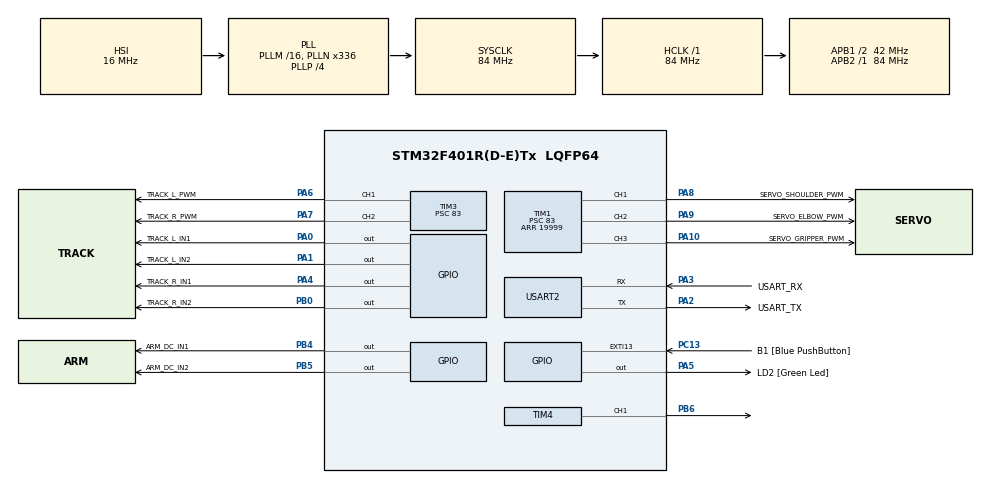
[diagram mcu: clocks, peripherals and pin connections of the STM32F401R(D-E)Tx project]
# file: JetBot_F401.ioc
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Mcu.Family=STM32F4
Mcu.Name=STM32F401R(D-E)Tx
Mcu.Package=LQFP64
NVIC.PriorityGroup=NVIC_PRIORITYGROUP_4
NVIC.USART2_IRQn=true\:0\:0\:false\:false\:true\:true\:true\:true
PA0-WKUP.GPIO_Label=TRACK_L_IN1
PA0-WKUP.Signal=GPIO_Output
PA1.GPIO_Label=TRACK_L_IN2
PA1.Signal=GPIO_Output
PA10.GPIO_Label=SERVO_GRIPPER_PWM
PA10.Signal=S_TIM1_CH3
PA13.GPIO_Label=TMS
PA13.Mode=Serial_Wire
PA13.Signal=SYS_JTMS-SWDIO
PA14.GPIO_Label=TCK
PA14.Mode=Serial_Wire
PA14.Signal=SYS_JTCK-SWCLK
PA2.GPIO_Label=USART_TX
PA2.GPIO_Mode=GPIO_MODE_AF_PP
PA2.GPIO_PuPd=GPIO_NOPULL
PA2.GPIO_Speed=GPIO_SPEED_FREQ_LOW
PA2.Mode=Asynchronous
PA2.Signal=USART2_TX
PA3.GPIO_Label=USART_RX
PA3.GPIO_Mode=GPIO_MODE_AF_PP
PA3.GPIO_PuPd=GPIO_NOPULL
PA3.GPIO_Speed=GPIO_SPEED_FREQ_LOW
PA3.Mode=Asynchronous
PA3.Signal=USART2_RX
PA4.GPIO_Label=TRACK_R_IN1
PA4.Signal=GPIO_Output
PA5.GPIO_Label=LD2 [Green Led]
PA5.GPIO_Mode=GPIO_MODE_OUTPUT_PP
PA5.GPIO_PuPd=GPIO_NOPULL
PA5.GPIO_Speed=GPIO_SPEED_FREQ_LOW
PA5.Signal=GPIO_Output
PA6.GPIO_Label=TRACK_L_PWM
PA6.Signal=S_TIM3_CH1
PA7.GPIO_Label=TRACK_R_PWM
PA7.Signal=S_TIM3_CH2
PA8.GPIO_Label=SERVO_SHOULDER_PWM
PA8.Signal=S_TIM1_CH1
PA9.GPIO_Label=SERVO_ELBOW_PWM
PA9.Signal=S_TIM1_CH2
PB0.GPIO_Label=TRACK_R_IN2
PB0.Signal=GPIO_Output
PB3.GPIO_Label=SWO
PB3.Signal=SYS_JTDO-SWO
PB4.GPIO_Label=ARM_DC_IN1
PB4.Signal=GPIO_Output
PB5.GPIO_Label=ARM_DC_IN2
PB5.Signal=GPIO_Output
PB6.Signal=S_TIM4_CH1
PC13-ANTI_TAMP.GPIO_Label=B1 [Blue PushButton]
PC13-ANTI_TAMP.GPIO_ModeDefaultEXTI=GPIO_MODE_IT_FALLING
PC13-ANTI_TAMP.GPIO_PuPd=GPIO_NOPULL
PC13-ANTI_TAMP.Signal=GPXTI13
PC14-OSC32_IN.Mode=LSE-External-Oscillator
PC14-OSC32_IN.Signal=RCC_OSC32_IN
PC15-OSC32_OUT.Mode=LSE-External-Oscillator
PC15-OSC32_OUT.Signal=RCC_OSC32_OUT
PH0\ -\ OSC_IN.Mode=HSE-External-Clock-Source
PH0\ -\ OSC_IN.Signal=RCC_OSC_IN
PH1\ -\ OSC_OUT.Mode=HSE-External-Clock-Source
PH1\ -\ OSC_OUT.Signal=RCC_OSC_OUT
ProjectManager.HeapSize=0x200
ProjectManager.StackSize=0x400
ProjectManager.TargetToolchain=STM32CubeIDE
RCC.48MHZClocksFreq_Value=48000000
RCC.AHBFreq_Value=84000000
RCC.APB1CLKDivider=RCC_HCLK_DIV2
RCC.APB1Freq_Value=42000000
RCC.APB1TimFreq_Value=84000000
RCC.APB2Freq_Value=84000000
RCC.APB2TimFreq_Value=84000000
RCC.CortexFreq_Value=84000000
RCC.HCLKFreq_Value=84000000
RCC.HSE_VALUE=8000000
RCC.HSI_VALUE=16000000
RCC.PLLN=336
RCC.PLLP=RCC_PLLP_DIV4
RCC.PLLQ=7
RCC.SYSCLKFreq_VALUE=84000000
RCC.SYSCLKSource=RCC_SYSCLKSOURCE_PLLCLK
RCC.VCOOutputFreq_Value=336000000
SH.S_TIM1_CH1.0=TIM1_CH1,PWM Generation1 CH1
SH.S_TIM1_CH2.0=TIM1_CH2,PWM Generation2 CH2
SH.S_TIM1_CH3.0=TIM1_CH3,PWM Generation3 CH3
SH.S_TIM3_CH1.0=TIM3_CH1,PWM Generation1 CH1
SH.S_TIM3_CH2.0=TIM3_CH2,PWM Generation2 CH2
SH.S_TIM4_CH1.0=TIM4_CH1,PWM Generation1 CH1
TIM1.Channel-PWM\ Generation1\ CH1=TIM_CHANNEL_1
TIM1.Channel-PWM\ Generation2\ CH2=TIM_CHANNEL_2
TIM1.Channel-PWM\ Generation3\ CH3=TIM_CHANNEL_3
TIM1.Period=19999
TIM1.Prescaler=83
TIM1.Pulse-PWM\ Generation1\ CH1=1500
TIM1.Pulse-PWM\ Generation2\ CH2=1500
TIM1.Pulse-PWM\ Generation3\ CH3=1500
TIM3.Channel-PWM\ Generation1\ CH1=TIM_CHANNEL_1
TIM3.Channel-PWM\ Generation2\ CH2=TIM_CHANNEL_2
TIM3.Period=999
TIM3.Prescaler=83
TIM4.Channel-PWM\ Generation1\ CH1=TIM_CHANNEL_1
TIM4.Period=999
TIM4.Prescaler=83
USART2.VirtualMode=VM_ASYNC
board=NUCLEO-F401RE

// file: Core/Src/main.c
/* USER CODE BEGIN Header */
/**
  ******************************************************************************
  * @file           : main.c
  * @brief          : Main program body
  ******************************************************************************
  * @attention
  *
  * Copyright (c) 2026 STMicroelectronics.
  * All rights reserved.
  *
  * This software is licensed under terms that can be found in the LICENSE file
  * in the root directory of this software component.
  * If no LICENSE file comes with this software, it is provided AS-IS.
  *
  ******************************************************************************
  */
/* USER CODE END Header */
#include "main.h"

TIM_HandleTypeDef htim1;
TIM_HandleTypeDef htim3;
TIM_HandleTypeDef htim4;

UART_HandleTypeDef huart2;

/* USER CODE BEGIN PV */

#define RX_BUF_SIZE        64
#define DRIVE_WATCHDOG_MS  300U

static uint8_t rx_byte;

static char rx_build[RX_BUF_SIZE];
static char rx_line[RX_BUF_SIZE];

static volatile uint16_t rx_index = 0;
static volatile uint8_t line_ready = 0;

static int16_t left_applied = 0;
static int16_t right_applied = 0;

static uint32_t last_drive_tick = 0;

/* USER CODE END PV */

void SystemClock_Config(void);
static void MX_GPIO_Init(void);
static void MX_TIM1_Init(void);
static void MX_TIM3_Init(void);
static void MX_TIM4_Init(void);
static void MX_USART2_UART_Init(void);
/* USER CODE BEGIN PFP */
static void UART_Send(
    const char *text);

static void Drive_Stop(void);

static void Motor_SetSafe(
    GPIO_TypeDef *in1_port,
    uint16_t in1_pin,
    GPIO_TypeDef *in2_port,
    uint16_t in2_pin,
    TIM_HandleTypeDef *htim,
    uint32_t channel,
    int command,
    int16_t *last_command);

static void Drive_Apply(int left, int right);

static void Process_Command(const char *line);
/* USER CODE END PFP */

int main(void)
{

  /* MCU Configuration--------------------------------------------------------*/

  /* Reset of all peripherals, Initializes the Flash interface and the Systick. */
  HAL_Init();

  /* Configure the system clock */
  SystemClock_Config();

  /* Initialize all configured peripherals */
  MX_GPIO_Init();
  MX_TIM1_Init();
  MX_TIM3_Init();
  MX_TIM4_Init();
  MX_USART2_UART_Init();
  /* USER CODE BEGIN 2 */
  HAL_TIM_PWM_Start(&htim3, TIM_CHANNEL_1);
  HAL_TIM_PWM_Start(&htim3, TIM_CHANNEL_2);

  //HAL_TIM_PWM_Start(&htim4, TIM_CHANNEL_1);

  //HAL_TIM_PWM_Start(&htim1, TIM_CHANNEL_1);
  //HAL_TIM_PWM_Start(&htim1, TIM_CHANNEL_2);
  //HAL_TIM_PWM_Start(&htim1, TIM_CHANNEL_3);

  /* 모터를 확실하게 정지 상태로 시작 */
  Drive_Stop();

  /* watchdog 기준시간 초기화 */
  last_drive_tick = HAL_GetTick();

  /* Arm DC motor STOP */
  //__HAL_TIM_SET_COMPARE(&htim4, TIM_CHANNEL_1, 0);

  /* 360 servo STOP */
  //__HAL_TIM_SET_COMPARE(&htim1, TIM_CHANNEL_1, 1500);
  //__HAL_TIM_SET_COMPARE(&htim1, TIM_CHANNEL_2, 1500);

  /* 180 servo center */
  //__HAL_TIM_SET_COMPARE(&htim1, TIM_CHANNEL_3, 1500);

  HAL_UART_Receive_IT(&huart2, &rx_byte, 1);
  /* USER CODE END 2 */

  /* Infinite loop */
  while (1)
  {

    /* USER CODE BEGIN 3 */
	  /*
	   * 완성된 UART command가 있으면 처리
	   */
	  if (line_ready)
	  {
	      Process_Command(
	          rx_line);

	      line_ready = 0;
	  }

	  /*
	   * 마지막 정상 주행 명령 이후
	   * 300ms 이상 지났으면 강제 정지
	   */
	  if (
	      HAL_GetTick()
	      - last_drive_tick
	      > DRIVE_WATCHDOG_MS
	  )
	  {
	      if (
	          left_applied != 0
	          ||
	          right_applied != 0
	      )
	      {
	          Drive_Stop();
	      }
	  }

  }
  /* USER CODE END 3 */
}

void SystemClock_Config(void)
{
  RCC_OscInitTypeDef RCC_OscInitStruct = {0};
  RCC_ClkInitTypeDef RCC_ClkInitStruct = {0};

  /** Configure the main internal regulator output voltage
  */
  __HAL_RCC_PWR_CLK_ENABLE();
  __HAL_PWR_VOLTAGESCALING_CONFIG(PWR_REGULATOR_VOLTAGE_SCALE2);

  /** Initializes the RCC Oscillators according to the specified parameters
  * in the RCC_OscInitTypeDef structure.
  */
  RCC_OscInitStruct.OscillatorType = RCC_OSCILLATORTYPE_HSI;
  RCC_OscInitStruct.HSIState = RCC_HSI_ON;
  RCC_OscInitStruct.HSICalibrationValue = RCC_HSICALIBRATION_DEFAULT;
  RCC_OscInitStruct.PLL.PLLState = RCC_PLL_ON;
  RCC_OscInitStruct.PLL.PLLSource = RCC_PLLSOURCE_HSI;
  RCC_OscInitStruct.PLL.PLLM = 16;
  RCC_OscInitStruct.PLL.PLLN = 336;
  RCC_OscInitStruct.PLL.PLLP = RCC_PLLP_DIV4;
  RCC_OscInitStruct.PLL.PLLQ = 7;
  if (HAL_RCC_OscConfig(&RCC_OscInitStruct) != HAL_OK)
  {
    Error_Handler();
  }

  /** Initializes the CPU, AHB and APB buses clocks
  */
  RCC_ClkInitStruct.ClockType = RCC_CLOCKTYPE_HCLK|RCC_CLOCKTYPE_SYSCLK
                              |RCC_CLOCKTYPE_PCLK1|RCC_CLOCKTYPE_PCLK2;
  RCC_ClkInitStruct.SYSCLKSource = RCC_SYSCLKSOURCE_PLLCLK;
  RCC_ClkInitStruct.AHBCLKDivider = RCC_SYSCLK_DIV1;
  RCC_ClkInitStruct.APB1CLKDivider = RCC_HCLK_DIV2;
  RCC_ClkInitStruct.APB2CLKDivider = RCC_HCLK_DIV1;

  if (HAL_RCC_ClockConfig(&RCC_ClkInitStruct, FLASH_LATENCY_2) != HAL_OK)
  {
    Error_Handler();
  }
}

static void MX_TIM1_Init(void)
{

  TIM_MasterConfigTypeDef sMasterConfig = {0};
  TIM_OC_InitTypeDef sConfigOC = {0};
  TIM_BreakDeadTimeConfigTypeDef sBreakDeadTimeConfig = {0};

  htim1.Instance = TIM1;
  htim1.Init.Prescaler = 83;
  htim1.Init.CounterMode = TIM_COUNTERMODE_UP;
  htim1.Init.Period = 19999;
  htim1.Init.ClockDivision = TIM_CLOCKDIVISION_DIV1;
  htim1.Init.RepetitionCounter = 0;
  htim1.Init.AutoReloadPreload = TIM_AUTORELOAD_PRELOAD_DISABLE;
  if (HAL_TIM_PWM_Init(&htim1) != HAL_OK)
  {
    Error_Handler();
  }
  sMasterConfig.MasterOutputTrigger = TIM_TRGO_RESET;
  sMasterConfig.MasterSlaveMode = TIM_MASTERSLAVEMODE_DISABLE;
  if (HAL_TIMEx_MasterConfigSynchronization(&htim1, &sMasterConfig) != HAL_OK)
  {
    Error_Handler();
  }
  sConfigOC.OCMode = TIM_OCMODE_PWM1;
  sConfigOC.Pulse = 1500;
  sConfigOC.OCPolarity = TIM_OCPOLARITY_HIGH;
  sConfigOC.OCNPolarity = TIM_OCNPOLARITY_HIGH;
  sConfigOC.OCFastMode = TIM_OCFAST_DISABLE;
  sConfigOC.OCIdleState = TIM_OCIDLESTATE_RESET;
  sConfigOC.OCNIdleState = TIM_OCNIDLESTATE_RESET;
  if (HAL_TIM_PWM_ConfigChannel(&htim1, &sConfigOC, TIM_CHANNEL_1) != HAL_OK)
  {
    Error_Handler();
  }
  if (HAL_TIM_PWM_ConfigChannel(&htim1, &sConfigOC, TIM_CHANNEL_2) != HAL_OK)
  {
    Error_Handler();
  }
  if (HAL_TIM_PWM_ConfigChannel(&htim1, &sConfigOC, TIM_CHANNEL_3) != HAL_OK)
  {
    Error_Handler();
  }
  sBreakDeadTimeConfig.OffStateRunMode = TIM_OSSR_DISABLE;
  sBreakDeadTimeConfig.OffStateIDLEMode = TIM_OSSI_DISABLE;
  sBreakDeadTimeConfig.LockLevel = TIM_LOCKLEVEL_OFF;
  sBreakDeadTimeConfig.DeadTime = 0;
  sBreakDeadTimeConfig.BreakState = TIM_BREAK_DISABLE;
  sBreakDeadTimeConfig.BreakPolarity = TIM_BREAKPOLARITY_HIGH;
  sBreakDeadTimeConfig.AutomaticOutput = TIM_AUTOMATICOUTPUT_DISABLE;
  if (HAL_TIMEx_ConfigBreakDeadTime(&htim1, &sBreakDeadTimeConfig) != HAL_OK)
  {
    Error_Handler();
  }
  HAL_TIM_MspPostInit(&htim1);

}

static void MX_TIM3_Init(void)
{

  TIM_MasterConfigTypeDef sMasterConfig = {0};
  TIM_OC_InitTypeDef sConfigOC = {0};

  htim3.Instance = TIM3;
  htim3.Init.Prescaler = 83;
  htim3.Init.CounterMode = TIM_COUNTERMODE_UP;
  htim3.Init.Period = 999;
  htim3.Init.ClockDivision = TIM_CLOCKDIVISION_DIV1;
  htim3.Init.AutoReloadPreload = TIM_AUTORELOAD_PRELOAD_DISABLE;
  if (HAL_TIM_PWM_Init(&htim3) != HAL_OK)
  {
    Error_Handler();
  }
  sMasterConfig.MasterOutputTrigger = TIM_TRGO_RESET;
  sMasterConfig.MasterSlaveMode = TIM_MASTERSLAVEMODE_DISABLE;
  if (HAL_TIMEx_MasterConfigSynchronization(&htim3, &sMasterConfig) != HAL_OK)
  {
    Error_Handler();
  }
  sConfigOC.OCMode = TIM_OCMODE_PWM1;
  sConfigOC.Pulse = 0;
  sConfigOC.OCPolarity = TIM_OCPOLARITY_HIGH;
  sConfigOC.OCFastMode = TIM_OCFAST_DISABLE;
  if (HAL_TIM_PWM_ConfigChannel(&htim3, &sConfigOC, TIM_CHANNEL_1) != HAL_OK)
  {
    Error_Handler();
  }
  if (HAL_TIM_PWM_ConfigChannel(&htim3, &sConfigOC, TIM_CHANNEL_2) != HAL_OK)
  {
    Error_Handler();
  }
  HAL_TIM_MspPostInit(&htim3);

}

static void MX_TIM4_Init(void)
{

  TIM_MasterConfigTypeDef sMasterConfig = {0};
  TIM_OC_InitTypeDef sConfigOC = {0};

  htim4.Instance = TIM4;
  htim4.Init.Prescaler = 83;
  htim4.Init.CounterMode = TIM_COUNTERMODE_UP;
  htim4.Init.Period = 999;
  htim4.Init.ClockDivision = TIM_CLOCKDIVISION_DIV1;
  htim4.Init.AutoReloadPreload = TIM_AUTORELOAD_PRELOAD_DISABLE;
  if (HAL_TIM_PWM_Init(&htim4) != HAL_OK)
  {
    Error_Handler();
  }
  sMasterConfig.MasterOutputTrigger = TIM_TRGO_RESET;
  sMasterConfig.MasterSlaveMode = TIM_MASTERSLAVEMODE_DISABLE;
  if (HAL_TIMEx_MasterConfigSynchronization(&htim4, &sMasterConfig) != HAL_OK)
  {
    Error_Handler();
  }
  sConfigOC.OCMode = TIM_OCMODE_PWM1;
  sConfigOC.Pulse = 0;
  sConfigOC.OCPolarity = TIM_OCPOLARITY_HIGH;
  sConfigOC.OCFastMode = TIM_OCFAST_DISABLE;
  if (HAL_TIM_PWM_ConfigChannel(&htim4, &sConfigOC, TIM_CHANNEL_1) != HAL_OK)
  {
    Error_Handler();
  }
  HAL_TIM_MspPostInit(&htim4);

}

static void MX_USART2_UART_Init(void)
{

  huart2.Instance = USART2;
  huart2.Init.BaudRate = 115200;
  huart2.Init.WordLength = UART_WORDLENGTH_8B;
  huart2.Init.StopBits = UART_STOPBITS_1;
  huart2.Init.Parity = UART_PARITY_NONE;
  huart2.Init.Mode = UART_MODE_TX_RX;
  huart2.Init.HwFlowCtl = UART_HWCONTROL_NONE;
  huart2.Init.OverSampling = UART_OVERSAMPLING_16;
  if (HAL_UART_Init(&huart2) != HAL_OK)
  {
    Error_Handler();
  }

}

static void MX_GPIO_Init(void)
{
  GPIO_InitTypeDef GPIO_InitStruct = {0};

  /* GPIO Ports Clock Enable */
  __HAL_RCC_GPIOC_CLK_ENABLE();
  __HAL_RCC_GPIOH_CLK_ENABLE();
  __HAL_RCC_GPIOA_CLK_ENABLE();
  __HAL_RCC_GPIOB_CLK_ENABLE();

  /*Configure GPIO pin Output Level */
  HAL_GPIO_WritePin(GPIOA, TRACK_L_IN1_Pin|TRACK_L_IN2_Pin|TRACK_R_IN1_Pin|LD2_Pin, GPIO_PIN_RESET);

  /*Configure GPIO pin Output Level */
  HAL_GPIO_WritePin(GPIOB, TRACK_R_IN2_Pin|ARM_DC_IN1_Pin|ARM_DC_IN2_Pin, GPIO_PIN_RESET);

  /*Configure GPIO pin : B1_Pin */
  GPIO_InitStruct.Pin = B1_Pin;
  GPIO_InitStruct.Mode = GPIO_MODE_IT_FALLING;
  GPIO_InitStruct.Pull = GPIO_NOPULL;
  HAL_GPIO_Init(B1_GPIO_Port, &GPIO_InitStruct);

  /*Configure GPIO pins : TRACK_L_IN1_Pin TRACK_L_IN2_Pin TRACK_R_IN1_Pin LD2_Pin */
  GPIO_InitStruct.Pin = TRACK_L_IN1_Pin|TRACK_L_IN2_Pin|TRACK_R_IN1_Pin|LD2_Pin;
  GPIO_InitStruct.Mode = GPIO_MODE_OUTPUT_PP;
  GPIO_InitStruct.Pull = GPIO_NOPULL;
  GPIO_InitStruct.Speed = GPIO_SPEED_FREQ_LOW;
  HAL_GPIO_Init(GPIOA, &GPIO_InitStruct);

  /*Configure GPIO pins : TRACK_R_IN2_Pin ARM_DC_IN1_Pin ARM_DC_IN2_Pin */
  GPIO_InitStruct.Pin = TRACK_R_IN2_Pin|ARM_DC_IN1_Pin|ARM_DC_IN2_Pin;
  GPIO_InitStruct.Mode = GPIO_MODE_OUTPUT_PP;
  GPIO_InitStruct.Pull = GPIO_NOPULL;
  GPIO_InitStruct.Speed = GPIO_SPEED_FREQ_LOW;
  HAL_GPIO_Init(GPIOB, &GPIO_InitStruct);

}

/* USER CODE BEGIN 4 */
static void Drive_Stop(void)
{
    __HAL_TIM_SET_COMPARE(
        &htim3,
        TIM_CHANNEL_1,
        0);

    __HAL_TIM_SET_COMPARE(
        &htim3,
        TIM_CHANNEL_2,
        0);

    HAL_GPIO_WritePin(
        TRACK_L_IN1_GPIO_Port,
        TRACK_L_IN1_Pin,
        GPIO_PIN_RESET);

    HAL_GPIO_WritePin(
        TRACK_L_IN2_GPIO_Port,
        TRACK_L_IN2_Pin,
        GPIO_PIN_RESET);

    HAL_GPIO_WritePin(
        TRACK_R_IN1_GPIO_Port,
        TRACK_R_IN1_Pin,
        GPIO_PIN_RESET);

    HAL_GPIO_WritePin(
        TRACK_R_IN2_GPIO_Port,
        TRACK_R_IN2_Pin,
        GPIO_PIN_RESET);

    left_applied = 0;
    right_applied = 0;
}

static void Motor_SetSafe(
    GPIO_TypeDef *in1_port,
    uint16_t in1_pin,
    GPIO_TypeDef *in2_port,
    uint16_t in2_pin,
    TIM_HandleTypeDef *htim,
    uint32_t channel,
    int command,
    int16_t *last_command)
{
    /* 범위 제한 */
    if (command > 1000)
        command = 1000;

    if (command < -1000)
        command = -1000;

    /*
     * 정회전 → 역회전
     * 또는
     * 역회전 → 정회전
     *
     * 즉시 반전하지 않고 한 control cycle 정지.
     */
    if (
        ((*last_command > 0) && (command < 0))
        ||
        ((*last_command < 0) && (command > 0))
    )
    {
        __HAL_TIM_SET_COMPARE(
            htim,
            channel,
            0);

        HAL_GPIO_WritePin(
            in1_port,
            in1_pin,
            GPIO_PIN_RESET);

        HAL_GPIO_WritePin(
            in2_port,
            in2_pin,
            GPIO_PIN_RESET);

        *last_command = 0;

        return;
    }

    /* 정지 */
    if (command == 0)
    {
        __HAL_TIM_SET_COMPARE(
            htim,
            channel,
            0);

        HAL_GPIO_WritePin(
            in1_port,
            in1_pin,
            GPIO_PIN_RESET);

        HAL_GPIO_WritePin(
            in2_port,
            in2_pin,
            GPIO_PIN_RESET);

        *last_command = 0;

        return;
    }

    /*
     * -1000~1000
     * →
     * PWM 0~999
     */
    uint32_t pwm =
        ((uint32_t)abs(command) * 999U)
        / 1000U;

    /* 정방향 */
    if (command > 0)
    {
        HAL_GPIO_WritePin(
            in1_port,
            in1_pin,
            GPIO_PIN_SET);

        HAL_GPIO_WritePin(
            in2_port,
            in2_pin,
            GPIO_PIN_RESET);
    }

    /* 역방향 */
    else
    {
        HAL_GPIO_WritePin(
            in1_port,
            in1_pin,
            GPIO_PIN_RESET);

        HAL_GPIO_WritePin(
            in2_port,
            in2_pin,
            GPIO_PIN_SET);
    }

    __HAL_TIM_SET_COMPARE(
        htim,
        channel,
        pwm);

    *last_command =
        (int16_t)command;
}

static void Drive_Apply(
    int left,
    int right)
{
    /* LEFT */
    Motor_SetSafe(
        TRACK_L_IN1_GPIO_Port,
        TRACK_L_IN1_Pin,
        TRACK_L_IN2_GPIO_Port,
        TRACK_L_IN2_Pin,
        &htim3,
        TIM_CHANNEL_1,
        left,
        &left_applied);

    /* RIGHT */
    Motor_SetSafe(
        TRACK_R_IN1_GPIO_Port,
        TRACK_R_IN1_Pin,
        TRACK_R_IN2_GPIO_Port,
        TRACK_R_IN2_Pin,
        &htim3,
        TIM_CHANNEL_2,
        right,
        &right_applied);
}

static void UART_Send(
    const char *text)
{
    HAL_UART_Transmit(
        &huart2,
        (uint8_t *)text,
        strlen(text),
        100);
}

static void Process_Command(
    const char *line)
{
    /*
     * STOP
     */
    if (strcmp(line, "STOP") == 0)
    {
        Drive_Stop();

        last_drive_tick =
            HAL_GetTick();

        UART_Send(
            "ACK,STOP\n");

        return;
    }

    unsigned long seq = 0;
    int left = 0;
    int right = 0;

    /*
     * 예상:
     *
     * M,123,200,200
     */
    int result = sscanf(
        line,
        "M,%lu,%d,%d",
        &seq,
        &left,
        &right);

    /* 형식 오류 */
    if (result != 3)
    {
        Drive_Stop();

        UART_Send(
            "ERR,FORMAT\n");

        return;
    }

    /* 명령 범위 오류 */
    if (
        left < -1000 ||
        left > 1000 ||
        right < -1000 ||
        right > 1000
    )
    {
        Drive_Stop();

        UART_Send(
            "ERR,RANGE\n");

        return;
    }

    /* 실제 모터 명령 적용 */
    Drive_Apply(
        left,
        right);

    /* watchdog timer 갱신 */
    last_drive_tick =
        HAL_GetTick();

    /* ACK 생성 */
    char reply[32];

    snprintf(
        reply,
        sizeof(reply),
        "ACK,%lu\n",
        seq);

    UART_Send(reply);
}

void HAL_UART_RxCpltCallback(
    UART_HandleTypeDef *huart)
{
    if (huart->Instance == USART2)
    {
        /*
         * Windows 계열 CRLF에 대비:
         * '\r'은 무시
         */
        if (rx_byte == '\r')
        {
            /* do nothing */
        }

        /*
         * 한 명령 완료
         */
        else if (rx_byte == '\n')
        {
            if (!line_ready)
            {
                rx_build[rx_index] =
                    '\0';

                memcpy(
                    rx_line,
                    rx_build,
                    rx_index + 1);

                line_ready = 1;
            }

            rx_index = 0;
        }

        /*
         * 일반 문자
         */
        else
        {
            if (
                rx_index
                < RX_BUF_SIZE - 1
            )
            {
                rx_build[rx_index++] =
                    (char)rx_byte;
            }
            else
            {
                /*
                 * buffer overflow이면
                 * 현재 line 폐기
                 */
                rx_index = 0;
            }
        }

        /*
         * 다음 1 byte interrupt 수신 예약.
         *
         * 이것을 빼먹으면
         * 첫 byte 이후 더 이상 수신되지 않는다.
         */
        HAL_UART_Receive_IT(
            &huart2,
            &rx_byte,
            1);
    }
}

void HAL_UART_ErrorCallback(
    UART_HandleTypeDef *huart)
{
    if (huart->Instance == USART2)
    {
        rx_index = 0;

        HAL_UART_Receive_IT(
            &huart2,
            &rx_byte,
            1);
    }
}
/* USER CODE END 4 */

void Error_Handler(void)
{
  __disable_irq();
  while (1)
  {
  }
}
